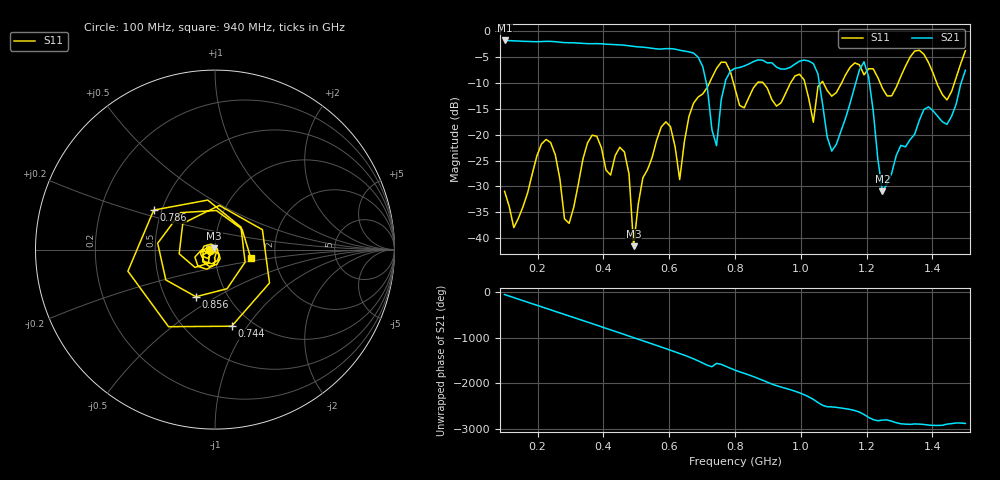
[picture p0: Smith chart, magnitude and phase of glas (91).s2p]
! NanoVNA-App
! Date: 2025-09-25 15:56:11
! Start: 100MHz Stop: 1,5GHz Points: 101
! S-Parameter data: F S11 S21 S12 S22
# Hz S RI R 50
!  Frequency  S11_Real  S11_Imag  S21_Real  S21_Imag  S12_Real  S12_Imag  S22_Real  S22_Imag
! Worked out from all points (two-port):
!   101 points, 100 MHz to 1.5 GHz, reference 50 ohm
!   highest |S21| = -1.80 dB at 100 MHz (marker M1); lowest = -30.9 dB at 1.248 GHz (marker M2)
!   |S21| within 3 dB of the highest: start of sweep to 684.1 MHz
!   lowest |S11| = -41.5 dB at 492 MHz (marker M3), VSWR 1.02, Z = 49.5 + j0.643 ohm
!   |S11| at or under -10 dB: start of sweep to 722.4 MHz; 795.3 MHz to 868.1 MHz (72.74 MHz wide, 8.75 % of centre); 885.7 MHz to 968.9 MHz (83.18 MHz wide, 8.97 % of centre) (the widest 3 of 7)
!   S12 and S22 are empty: the file has one direction only
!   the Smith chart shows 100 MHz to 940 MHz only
!   S11 on the Smith chart (normalised r, x): 100 MHz: 0.95, -0.01; 744 MHz: 0.81, -0.85; 786 MHz: 0.45, +0.24; 856 MHz: 0.71, -0.41; 940 MHz: 1.49, -0.14
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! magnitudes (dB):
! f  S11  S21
! 100 MHz  -31.0  -1.8
! 128 MHz  -38.0  -1.9
! 226 MHz  -20.9  -2.0
! 296 MHz  -37.1  -2.2
! 338 MHz  -24.7  -2.4
! 464 MHz  -23.3  -2.7
! 492 MHz  -41.5  -3.0
! 576 MHz  -18.5  -3.5
! 632 MHz  -28.7  -3.7
! 702 MHz  -12.1  -6.8
! 744 MHz  -7.2  -22.1
! 786 MHz  -7.8  -7.7
! 800 MHz  -11.1  -7.2
! 856 MHz  -11.0  -5.9
! 940 MHz  -13.8  -7.3
! 996 MHz  -8.3  -5.8
! 1.038 GHz  -17.6  -6.3
! 1.094 GHz  -12.6  -23.2
! 1.192 GHz  -8.4  -5.9
! 1.248 GHz  -11.0  -30.9
! 1.276 GHz  -12.5  -27.5
! 1.5 GHz  -3.8  -7.6
